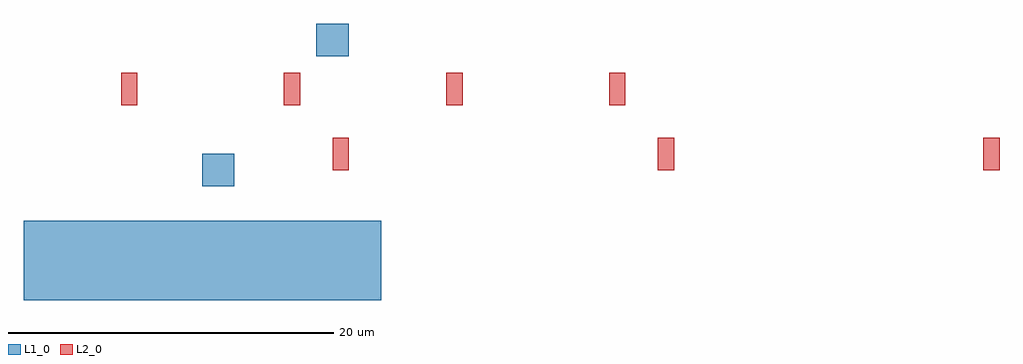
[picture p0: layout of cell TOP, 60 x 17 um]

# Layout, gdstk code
from math import pi, radians
import gdstk
lib = gdstk.Library(unit=1e-6, precision=1e-09)
def R(c, l, rs):  # rectangles x0, y0, x1, y1
    for r in rs: c.add(gdstk.rectangle(r[:2], r[2:], *l))
L1_0 = (1, 0)
L2_0 = (2, 0)

c_c2 = lib.new_cell('C2')
R(c_c2, L2_0, [(0,-1,1,0)])

c_c3 = lib.new_cell('C3')
R(c_c3, L2_0, [(0,0,1,1)])
c_c3.add(gdstk.Reference(c_c2, (0,0)))

c_c6 = lib.new_cell('C6')
R(c_c6, L1_0, [(-1,-1,0.96,1)])
r = gdstk.Reference(c_c3, (48,1), rotation=pi, x_reflection=True); r.repetition = gdstk.Repetition(3, 1, v1=(-20,0), v2=(0,0)); c_c6.add(r)

c_c4 = lib.new_cell('C4')
R(c_c4, L1_0, [(2869,-1,2871,1)])

c_c5 = lib.new_cell('C5')
r = gdstk.Reference(c_c3, (80,0), rotation=pi, x_reflection=True); r.repetition = gdstk.Repetition(4, 1, v1=(-10,0), v2=(0,0)); c_c5.add(r)
c_c5.add(gdstk.Reference(c_c4, (-2808,3)))

c_x = lib.new_cell('X')
c_x.add(gdstk.Reference(c_c5, (-40,0)))

top = lib.new_cell('TOP')
R(top, L1_0, [(8,-8,30,-3.1)])
top.add(gdstk.Reference(c_c6, (20,0)))
top.add(gdstk.Reference(c_x, (5,5)))

lib.write_gds('TOP.gds')
